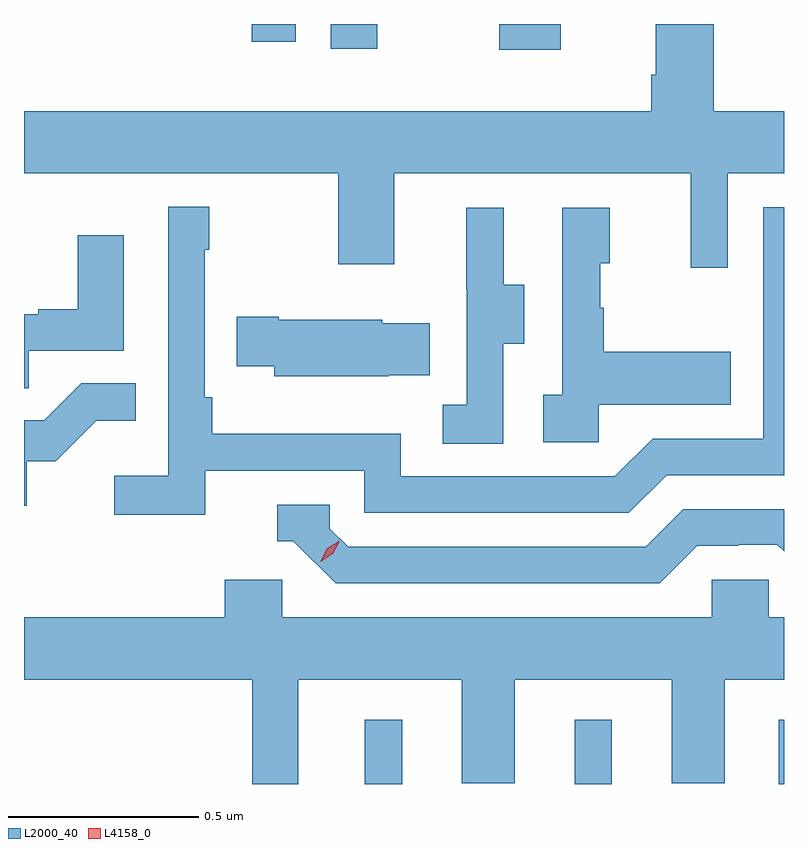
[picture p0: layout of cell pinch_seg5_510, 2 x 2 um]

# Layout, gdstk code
import gdstk
lib = gdstk.Library(unit=1e-6, precision=1e-09)
def R(c, l, rs):  # rectangles x0, y0, x1, y1
    for r in rs: c.add(gdstk.rectangle(r[:2], r[2:], *l))
def P(c, l, *ps):  # polygons
    for p in ps: c.add(gdstk.Polygon(p, *l))
L2000_40 = (2000, 40)
L4158_0 = (4158, 0)

pinch_seg5_510 = lib.new_cell('pinch_seg5_510')
R(pinch_seg5_510, L2000_40, [(938.012,844.497,938.11,844.666), (938.564,844.497,938.662,844.666), (939.101,844.497,939.115,844.666), (938.366,846.429,938.527,846.497), (937.922,846.432,938.044,846.497), (937.714,846.45,937.83,846.497)])
P(pinch_seg5_510, L2000_40, [(938.967,846.104),(939.115,846.104),(939.115,846.268),(938.93,846.268),(938.93,846.497),(938.777,846.497),(938.777,846.364),(938.765,846.364),(938.765,846.268),(937.115,846.268),(937.115,846.104),(937.942,846.104),(937.942,845.865),(938.089,845.865),(938.089,846.104),(938.87,846.104),(938.87,845.856),(938.967,845.856)],
  [(937.592,845.322),(938.01,845.322),(938.01,845.211),(938.707,845.211),(938.806,845.31),(939.115,845.31),(939.115,846.015),(939.06,846.015),(939.06,845.406),(938.769,845.406),(938.67,845.307),(938.106,845.307),(938.106,845.419),(937.61,845.419),(937.61,845.515),(937.59,845.515),(937.59,845.903),(937.603,845.903),(937.603,846.016),(937.494,846.016),(937.494,845.308),(937.353,845.308),(937.353,845.206),(937.592,845.206)],
  [(938.628,845.495),(938.975,845.495),(938.975,845.635),(938.641,845.635),(938.641,845.75),(938.631,845.75),(938.631,845.868),(938.656,845.868),(938.656,846.013),(938.532,846.013),(938.532,845.522),(938.481,845.522),(938.481,845.397),(938.628,845.397)],
  [(938.376,845.656),(938.431,845.656),(938.431,845.811),(938.377,845.811),(938.377,846.013),(938.279,846.013),(938.279,845.799),(938.28,845.799),(938.28,845.495),(938.217,845.495),(938.217,845.392),(938.376,845.392)],
  [(937.127,845.637),(937.378,845.637),(937.378,845.941),(937.256,845.941),(937.256,845.746),(937.153,845.746),(937.153,845.733),(937.115,845.733),(937.115,845.539),(937.127,845.539)],
  [(938.075,845.573),(938.183,845.573),(938.183,845.71),(938.058,845.71),(938.058,845.719),(937.786,845.719),(937.786,845.727),(937.675,845.727),(937.675,845.597),(937.773,845.597),(937.773,845.57),(938.075,845.57)],
  [(937.122,845.346),(937.198,845.346),(937.305,845.453),(937.409,845.453),(937.409,845.552),(937.266,845.552),(937.168,845.454),(937.115,845.454),(937.115,845.229),(937.122,845.229)],
  [(938.887,845.124),(938.994,845.124),(938.994,845.127),(939.097,845.127),(939.115,845.109),(939.115,845.22),(938.85,845.22),(938.751,845.121),(937.968,845.121),(937.92,845.169),(937.92,845.232),(937.781,845.232),(937.781,845.136),(937.824,845.136),(937.935,845.025),(938.788,845.025)],
  [(938.925,845.034),(938.925,844.936),(937.794,844.936),(937.794,845.034),(937.643,845.034),(937.643,844.936),(937.115,844.936),(937.115,844.772),(937.716,844.772),(937.716,844.497),(937.837,844.497),(937.837,844.772),(938.267,844.772),(938.267,844.499),(938.407,844.499),(938.407,844.772),(938.819,844.772),(938.819,844.499),(938.959,844.499),(938.959,844.772),(939.115,844.772),(939.115,844.936),(939.075,844.936),(939.075,845.034)])
P(pinch_seg5_510, L4158_0, [(937.896,845.083),(937.896,845.083),(937.912,845.116),(937.943,845.136),(937.944,845.136),(937.944,845.135),(937.927,845.103),(937.897,845.083)])

lib.write_gds('pinch_seg5_510.gds')
